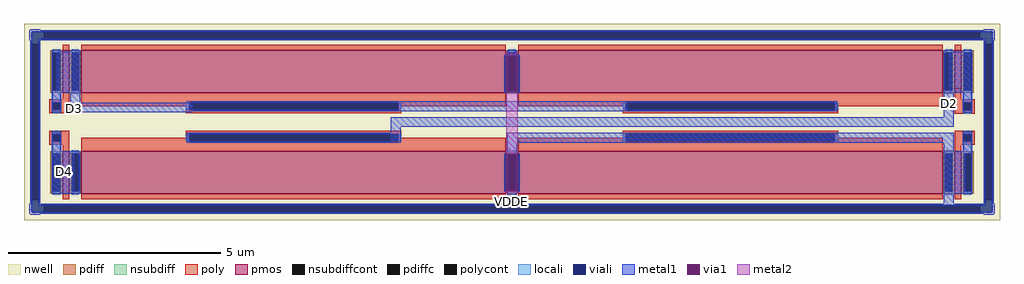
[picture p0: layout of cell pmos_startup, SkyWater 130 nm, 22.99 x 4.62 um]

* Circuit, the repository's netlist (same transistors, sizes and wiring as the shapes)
** sch_path: /home/gilang_fajrul/chipalooza/sky130_gff_ip__bgr_1.2v/magic/pmos_startup.sch
.subckt pmos_startup VDDE D4 D2 D3
*.PININFO VDDE:B D2:B D3:B D4:B
XM2 D2 D3 VDDE VDDE sky130_fd_pr__pfet_01v8 L=10 W=1 nf=1 m=1
XM3 D3 D3 VDDE VDDE sky130_fd_pr__pfet_01v8 L=10 W=1 nf=1 m=1
XM4 D4 D2 VDDE VDDE sky130_fd_pr__pfet_01v8 L=10 W=1 nf=1 m=1
XM1 D3 D3 D3 VDDE sky130_fd_pr__pfet_01v8 L=0.15 W=1 nf=1 m=1
XM5 D2 D2 D2 VDDE sky130_fd_pr__pfet_01v8 L=0.15 W=1 nf=1 m=1
XM6 D4 D4 D4 VDDE sky130_fd_pr__pfet_01v8 L=0.15 W=1 nf=1 m=1
XM7 VDDE VDDE VDDE VDDE sky130_fd_pr__pfet_01v8 L=0.15 W=1 nf=1 m=1
XM8 VDDE VDDE VDDE VDDE sky130_fd_pr__pfet_01v8 L=10 W=1 nf=1 m=1
.ends
.end

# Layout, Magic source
magic
tech sky130A
magscale 1 2
<< nwell >>
rect -176 -494 4422 430
<< nsubdiff >>
rect -140 360 -80 394
rect 4326 360 4386 394
rect -140 334 -106 360
rect 4352 334 4386 360
rect -140 -424 -106 -398
rect 4352 -424 4386 -398
rect -140 -458 -80 -424
rect 4326 -458 4386 -424
<< nsubdiffcont >>
rect -80 360 4326 394
rect -140 -398 -106 334
rect 4352 -398 4386 334
rect -80 -458 4326 -424
<< poly >>
rect 6 75 36 98
rect -56 59 36 75
rect -56 25 -40 59
rect -6 25 36 59
rect -56 9 36 25
rect 4210 74 4240 126
rect 4210 58 4302 74
rect 4210 24 4252 58
rect 4286 24 4302 58
rect 4210 8 4302 24
rect -56 -89 36 -73
rect -56 -123 -40 -89
rect -6 -123 36 -89
rect -56 -139 36 -123
rect 6 -144 36 -139
rect 4210 -89 4302 -73
rect 4210 -123 4252 -89
rect 4286 -123 4302 -89
rect 4210 -139 4302 -123
rect 4210 -152 4240 -139
<< polycont >>
rect -40 25 -6 59
rect 4252 24 4286 58
rect -40 -123 -6 -89
rect 4252 -123 4286 -89
<< locali >>
rect -40 59 -6 111
rect -40 9 -6 25
rect 4252 58 4286 114
rect 4252 8 4286 24
rect -40 -89 -6 -73
rect -40 -175 -6 -123
rect 4252 -89 4286 -73
rect 4252 -173 4286 -123
<< viali >>
rect -140 360 -80 394
rect -80 360 4326 394
rect 4326 360 4386 394
rect -140 334 -106 360
rect -140 -398 -106 334
rect 4352 334 4386 360
rect -40 25 -6 59
rect 4252 24 4286 58
rect -40 -123 -6 -89
rect 4252 -123 4286 -89
rect -140 -424 -106 -398
rect 4352 -398 4386 334
rect 4352 -424 4386 -398
rect -140 -458 -80 -424
rect -80 -458 4326 -424
rect 4326 -458 4386 -424
<< metal1 >>
rect -146 400 -100 406
rect 4346 400 4392 406
rect -152 394 4398 400
rect -152 354 -140 394
rect -146 -418 -140 354
rect -152 -458 -140 -418
rect -106 354 4352 360
rect -106 -418 -100 354
rect -24 108 79 300
rect -46 107 79 108
rect -46 106 88 107
rect 2087 106 2097 282
rect 2149 106 2159 282
rect 4179 124 4282 300
rect 4179 106 4292 124
rect -46 59 0 106
rect -46 25 -40 59
rect -6 25 0 59
rect -46 13 0 25
rect 42 59 88 106
rect 4158 105 4292 106
rect 42 19 620 59
rect 1594 19 2669 65
rect 88 13 620 19
rect 4158 -9 4204 105
rect 4246 58 4292 105
rect 4246 24 4252 58
rect 4286 24 4292 58
rect 4246 12 4292 24
rect 1552 -55 4204 -9
rect -46 -89 0 -77
rect -46 -123 -40 -89
rect -6 -123 0 -89
rect -46 -170 0 -123
rect 1552 -129 1598 -55
rect 2100 -129 4204 -83
rect -46 -176 60 -170
rect -43 -370 60 -176
rect 2100 -182 2146 -129
rect 4158 -170 4204 -129
rect 4246 -89 4292 -77
rect 4246 -123 4252 -89
rect 4286 -123 4292 -89
rect 4246 -170 4292 -123
rect 4158 -179 4292 -170
rect 2087 -358 2097 -182
rect 2149 -358 2159 -182
rect 2100 -418 2146 -358
rect 4158 -370 4261 -179
rect 4158 -418 4204 -370
rect 4346 -418 4352 354
rect -106 -424 4352 -418
rect 4386 354 4398 394
rect 4386 -418 4392 354
rect 4386 -458 4398 -418
rect -152 -464 4398 -458
rect -146 -470 -100 -464
rect 4346 -470 4392 -464
<< via1 >>
rect 2097 106 2149 282
rect 2097 -358 2149 -182
<< metal2 >>
rect 2097 282 2149 292
rect 2097 -182 2149 106
rect 2097 -368 2149 -358
use sky130_fd_pr__pfet_01v8_2XUZHN  sky130_fd_pr__pfet_01v8_2XUZHN_0
transform 1 0 4225 0 1 206
box -109 -162 109 162
use sky130_fd_pr__pfet_01v8_2XUZHN  sky130_fd_pr__pfet_01v8_2XUZHN_1
transform 1 0 4225 0 1 -270
box -109 -162 109 162
use sky130_fd_pr__pfet_01v8_2XUZHN  sky130_fd_pr__pfet_01v8_2XUZHN_2
transform 1 0 21 0 1 206
box -109 -162 109 162
use sky130_fd_pr__pfet_01v8_2XUZHN  sky130_fd_pr__pfet_01v8_2XUZHN_4
transform 1 0 21 0 1 -270
box -109 -162 109 162
use sky130_fd_pr__pfet_01v8_8RMJP2  sky130_fd_pr__pfet_01v8_8RMJP2_0
transform 1 0 2123 0 1 -234
box -2123 -198 2123 164
use sky130_fd_pr__pfet_01v8_CVRJBD  sky130_fd_pr__pfet_01v8_CVRJBD_1
transform 1 0 2123 0 1 170
box -2123 -164 2123 198
<< labels >>
flabel metal1 62 30 62 30 0 FreeSans 1600 0 0 0 D3
port 1 nsew
flabel metal1 4184 55 4184 55 0 FreeSans 1600 0 0 0 D2
port 2 nsew
flabel metal1 17 -267 17 -267 0 FreeSans 1600 0 0 0 D4
port 3 nsew
flabel metal1 2119 -408 2119 -408 0 FreeSans 1600 0 0 0 VDDE
port 4 nsew
<< end >>

# cell sky130_fd_pr__pfet_01v8_2XUZHN: kit device sky130_fd_pr__pfet_01v8, w 1 l 0.15 m 1 nf 1 diffcov 100 polycov 100 guard 0 glc 1 grc 1 gtc 1 gbc 1 tbcov 100 rlcov 100 topc 0 botc 0 poverlap 0 doverlap 1 lmin 0.15 wmin 0.42 compatible {sky130_fd_pr__pfet_01v8 sky130_fd_pr__pfet_01v8_lvt sky130_fd_pr__pfet_01v8_hvt sky130_fd_pr__pfet_g5v0d10v5} full_metal 1 viasrc 100 viadrn 100 viagate 100 viagb 0 viagr 0 viagl 0 viagt 0

# cell sky130_fd_pr__pfet_01v8_8RMJP2: kit device sky130_fd_pr__pfet_01v8, w 1 l 10 m 1 nf 2 diffcov 100 polycov 50 guard 0 glc 1 grc 1 gtc 1 gbc 1 tbcov 100 rlcov 100 topc 1 botc 0 poverlap 0 doverlap 1 lmin 0.15 wmin 0.42 compatible {sky130_fd_pr__pfet_01v8 sky130_fd_pr__pfet_01v8_lvt sky130_fd_pr__pfet_01v8_hvt sky130_fd_pr__pfet_g5v0d10v5} full_metal 1 viasrc 100 viadrn 100 viagate 50 viagb 0 viagr 0 viagl 0 viagt 0

# cell sky130_fd_pr__pfet_01v8_CVRJBD: kit device sky130_fd_pr__pfet_01v8, w 1 l 10 m 1 nf 2 diffcov 100 polycov 50 guard 0 glc 1 grc 1 gtc 1 gbc 1 tbcov 100 rlcov 100 topc 0 botc 1 poverlap 0 doverlap 1 lmin 0.15 wmin 0.42 compatible {sky130_fd_pr__pfet_01v8 sky130_fd_pr__pfet_01v8_lvt sky130_fd_pr__pfet_01v8_hvt sky130_fd_pr__pfet_g5v0d10v5} full_metal 1 viasrc 100 viadrn 100 viagate 50 viagb 0 viagr 0 viagl 0 viagt 0
